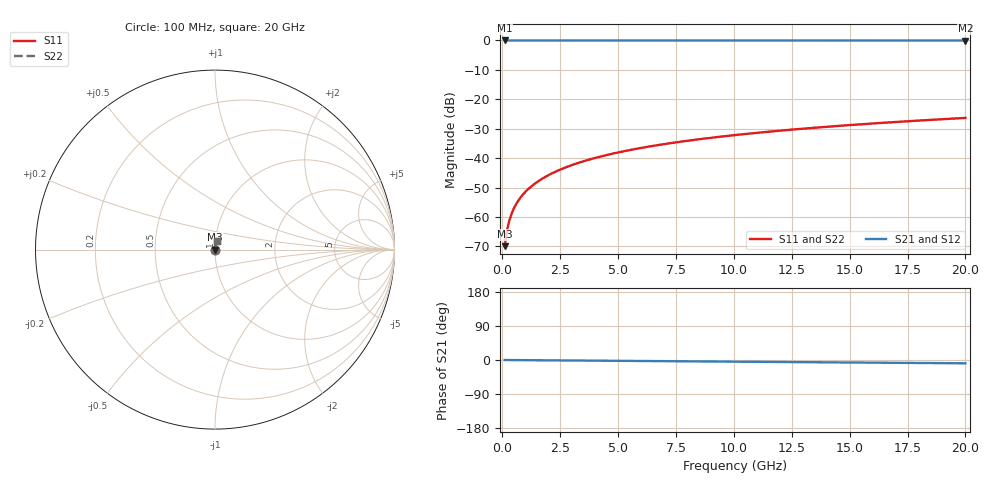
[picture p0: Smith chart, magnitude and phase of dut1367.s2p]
! Touchstone file exported from HFSS 2026.1.0
!  File:  C:/ffzhzh/LocalFiles/Ansys_Project_Files/temp_train_TSV_1367_1783196181_55132.aedt
!  Generated:  04:17:57 AM Jul  5, 2026
!  Design:  TSV
!  Project:  temp_train_TSV_1367_1783196181_55132
! Variables:
!  h_bsmrdl = 2um
!  h_ox = 20um
!  h_rdl = 5um
!  h_sub = 79.01um
!  h_tmrdl = 5um
!  h_tsv = 79.01um
!  h_via = 3um
!  l_bsmrdl = 300um
!  l_sub = 417.82um
!  l_tmrdl = 200um
!  m_sub = 200um
!  pitch = 54.2um
!  r_tsv = 8.91um
!  s_tmrdl = 10um
!  w_bsmrdl = 18um
!  w_sub = 500um
!  w_tmrdl = 12um
!  x_tsv_center1 = 206um
!  x_tsv_center2 = 524um
!  x_tsv_center3 = 736um
!  x_tsv_center4 = 1054um
!  x_tsv_center5 = 1266um
!  x_tsv_center6 = 1584um
# GHz S MA R 50.000000
! Terminal data exported
! Port[1] = TSV1_1_T1
! Port[2] = TSV1_1_T2
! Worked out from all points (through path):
!   200 points, 100 MHz to 20 GHz, reference 50 ohm
!   highest |S21| = 0.00 dB at 100 MHz (marker M1); lowest = 0.0 dB at 20 GHz (marker M2)
!   group delay of S21, straight-line fit = 1.21 ps
!   lowest |S11| = -69.9 dB at 100 MHz (marker M3), VSWR 1.00, Z = 50 + j0.0283 ohm
!   |S11| at or under -10 dB: start of sweep to end of sweep
!   |S22| runs from -69.9 to -26.3 dB; largest |S21 - S12| = 3.7e-15
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0.1  0.000319 62.4  0.9999 -0.0  0.9999 -0.0  0.000319 62.4
! Gamma 0 0 0 0
! Port Impedance 50 0 50 0
0.2  0.0005851 74.3  0.9998 -0.1  0.9998 -0.1  0.0005851 74.3
0.3  0.0008581 78.3  0.9998 -0.1  0.9998 -0.1  0.0008581 78.3
0.4  0.001129 80.0  0.9998 -0.2  0.9998 -0.2  0.001129 80.0
0.5  0.001397 81.0  0.9998 -0.2  0.9998 -0.2  0.001397 81.0
0.6  0.00166 81.6  0.9998 -0.3  0.9998 -0.3  0.00166 81.6
0.7  0.001919 82.0  0.9997 -0.3  0.9997 -0.3  0.001919 82.0
0.8  0.002175 82.3  0.9997 -0.4  0.9997 -0.4  0.002175 82.3
1  0.00268 82.8  0.9997 -0.5  0.9997 -0.5  0.00268 82.8
1.4  0.003674 83.6  0.9996 -0.6  0.9996 -0.6  0.003674 83.6
1.7  0.004414 84.0  0.9996 -0.8  0.9996 -0.8  0.004414 84.0
2  0.005152 84.3  0.9995 -0.9  0.9995 -0.9  0.005152 84.3
2.7  0.006873 84.7  0.9995 -1.2  0.9995 -1.2  0.006873 84.7
3.5  0.008835 84.8  0.9994 -1.5  0.9994 -1.5  0.008835 84.8
4.2  0.01055 84.8  0.9993 -1.9  0.9993 -1.9  0.01055 84.8
5  0.01249 84.7  0.9993 -2.2  0.9993 -2.2  0.01249 84.7
6.8  0.01685 84.4  0.9991 -3.0  0.9991 -3.0  0.01685 84.4
8.3  0.02046 83.9  0.9989 -3.6  0.9989 -3.6  0.02046 83.9
10.1  0.02477 83.4  0.9987 -4.4  0.9987 -4.4  0.02477 83.4
13.4  0.03265 82.2  0.9984 -5.9  0.9984 -5.9  0.03265 82.2
16.7  0.04046 81.0  0.998 -7.3  0.998 -7.3  0.04046 81.0
20  0.04822 79.7  0.9975 -8.7  0.9975 -8.7  0.04822 79.7
